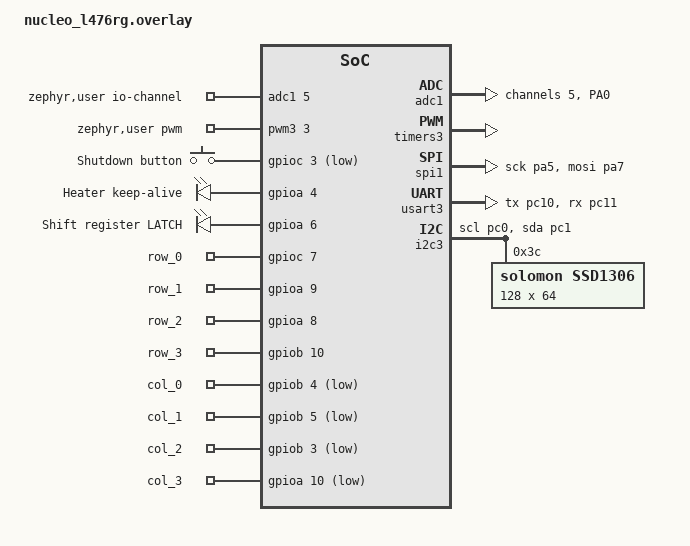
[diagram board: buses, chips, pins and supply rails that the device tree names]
/*
 * nucleo_l476rg.overlay — Mapa de pines del hardware y configuración de periféricos.
 *
 * ÚLTIMA REVISIÓN: reasignación completa de pines (ver docs/04-design-decisions.md,
 * mapa consolidado en checkpoint.md Sección 1.2 si aún no está formalizado).
 *
 * Resumen del mapa actual:
 *   - ADC (NTC):              PA0, ANALOG
 *   - PWM ventilador:         PB0, AF2 (TIM3_CH3)
 *   - Registro de desplazamiento (SN74HC595N): PA5 (SCK), PA6 (LATCH), PA7 (MOSI), AF5 — SPI1
 *   - OLED (SSD1306):         PC0 (SCL), PC1 (SDA), AF4 — I2C3
 *   - ESP32 (UART):           PC10 (TX), PC11 (RX), AF7 — USART3
 *   - Teclado filas:          PC7 (R0), PA9 (R1), PA8 (R2), PB10 (R3)
 *   - Teclado columnas:       PB4 (C0), PB5 (C1), PB3 (C2), PA10 (C3)
 *   - Botón de apagado:       PC3 (EXTI, debounce por software en el driver)
 *   - Keep-alive calentador:  PA4
 *
 * Pines evitados a propósito (no los uses aunque parezcan libres):
 *   - PA13 / PA14: son SWDIO/SWCLK — reconfigurarlos como GPIO/SPI puede dejar
 *     la placa sin poder reprogramarse por USB.
 *   - PC13: es el mismo pin del botón de usuario (B1) de la Nucleo. Se usa
 *     internamente en el alias "sw0" que consume power_status_manager.c — abajo
 *     se repuntó ese alias hacia el nuevo botón de PC3 para no tocar ese .c.
 *
 * === CÓMO INTERCAMBIAR FILAS POR COLUMNAS DEL TECLADO ===
 * El driver (matrix_keypad.c) lee los pines por NOMBRE de nodo DeviceTree
 * (row_0..row_3, col_0..col_3), nunca por puerto/pin fijo. Para intercambiar
 * qué grupo físico de 4 pines actúa como filas y cuál como columnas, edita
 * ÚNICAMENTE los bloques "keypad_rows" y "keypad_cols" de abajo — no se toca
 * ningún archivo .c.
 *
 * === CÓMO CAMBIAR PULL-UP POR PULL-DOWN EN LAS COLUMNAS ===
 * Cada columna tiene hoy la bandera GPIO_PULL_UP combinada con GPIO_ACTIVE_LOW
 * (reposo en HIGH, presionado se lee en LOW). Para usar pull-down en su lugar,
 * cambia esas dos banderas por GPIO_PULL_DOWN y GPIO_ACTIVE_HIGH en cada
 * col_N de abajo (reposo en LOW, presionado se lee en HIGH) — y ajusta el
 * cableado físico para que las filas exciten hacia 3.3V en vez de hacia GND.
 * El driver no necesita cambios: gpio_pin_get_dt() ya respeta la polaridad
 * declarada aquí.
 */

#include <zephyr/dt-bindings/adc/adc.h>
#include <zephyr/dt-bindings/pinctrl/stm32-pinctrl.h>
#include <zephyr/dt-bindings/pwm/pwm.h>
#include <zephyr/dt-bindings/gpio/gpio.h>

/ {
	zephyr,user {
		io-channels = <&adc1 5>;
		pwms        = <&pwm3 3 PWM_KHZ(25) PWM_POLARITY_NORMAL>;
	};

	/* Botón de apagado dedicado, PC3. Se expone también como alias "sw0" para
	 * que power_status_manager.c (que usa DT_ALIAS(sw0)) siga funcionando sin
	 * que se le toque una sola línea de código. */
	aliases {
		sw0 = &shutdown_button;
	};

	shutdown_btn {
		compatible = "gpio-keys";
		shutdown_button: shutdown_0 {
			gpios = <&gpioc 3 (GPIO_ACTIVE_LOW | GPIO_PULL_UP)>;
			label = "Shutdown button";
		};
	};

	/* GPIO de keep-alive hacia la planta térmica externa simulada. Ya no tiene
	 * ningún LED "espejo" asociado (se eliminó del esquema de LEDs); esta es la
	 * única señal real de autorización. */
	heater_ctrl {
		compatible = "gpio-leds";
		heater_pin: heater_0 { gpios = <&gpioa 4 GPIO_ACTIVE_HIGH>; label = "Heater keep-alive"; };
	};

	/* LATCH del registro de desplazamiento. No es parte del protocolo SPI en
	 * sí — es un GPIO simple que shift_register.c pulsa manualmente (flanco
	 * de subida) después de sacar los 8 bits por MOSI, tal como indica el
	 * datasheet del SN74HC595N para el pin RCLK. Por eso se expone como
	 * gpio-leds normal, igual que heater_pin, y NO como cs-gpios de &spi1. */
	shiftreg_ctrl {
		compatible = "gpio-leds";
		shiftreg_latch: shiftreg_latch_0 { gpios = <&gpioa 6 GPIO_ACTIVE_HIGH>; label = "Shift register LATCH"; };
	};

	/* Filas y columnas del teclado matricial 4x4. Ver notas de cabecera sobre
	 * cómo intercambiar filas/columnas y pull-up/pull-down. */
	keypad_rows {
		compatible = "gpio-keys";
		row_0: row_0 { gpios = <&gpioc 7  GPIO_ACTIVE_HIGH>; };
		row_1: row_1 { gpios = <&gpioa 9  GPIO_ACTIVE_HIGH>; };
		row_2: row_2 { gpios = <&gpioa 8  GPIO_ACTIVE_HIGH>; };
		row_3: row_3 { gpios = <&gpiob 10 GPIO_ACTIVE_HIGH>; };
	};

	keypad_cols {
		compatible = "gpio-keys";
		col_0: col_0 { gpios = <&gpiob 4  (GPIO_ACTIVE_LOW | GPIO_PULL_UP)>; };
		col_1: col_1 { gpios = <&gpiob 5  (GPIO_ACTIVE_LOW | GPIO_PULL_UP)>; };
		col_2: col_2 { gpios = <&gpiob 3  (GPIO_ACTIVE_LOW | GPIO_PULL_UP)>; };
		col_3: col_3 { gpios = <&gpioa 10 (GPIO_ACTIVE_LOW | GPIO_PULL_UP)>; };
	};
};

/* ── SECCIÓN PINCTRL ────────────────────────────────────────────────────── */
&pinctrl {
	ntc_adc_pins: ntc_adc_pins {
		pinmux = <STM32_PINMUX('A', 0, ANALOG)>;
	};

	fan_pwm_pins: fan_pwm_pins {
		pinmux = <STM32_PINMUX('B', 0, AF2)>;
	};

	/* ¡NUEVO FORMATO!
	Cada pin de SPI es su propio nodo independiente */
	spi1_sck_pa5: spi1_sck_pa5 {
		pinmux = <STM32_PINMUX('A', 5, AF5)>;
	};

	spi1_mosi_pa7: spi1_mosi_pa7 {
		pinmux = <STM32_PINMUX('A', 7, AF5)>;
	};

	/* El LATCH (PA6) no es parte del protocolo SPI en sí — es un GPIO simple
	 * que el driver del registro pulsa manualmente después de cada trama de
	 * 8 bits, por eso NO lleva pinmux de periférico aquí; se configura como
	 * GPIO normal directamente en el driver (drivers/shift_register.c). */


	/* ¡NUEVO FORMATO!
	Cada pin de I2C es su propio nodo independiente */
	i2c3_scl_pc0: i2c3_scl_pc0 {
		pinmux = <STM32_PINMUX('C', 0, AF4)>;
		bias-pull-up;
		drive-open-drain;
	};

	i2c3_sda_pc1: i2c3_sda_pc1 {
		pinmux = <STM32_PINMUX('C', 1, AF4)>;
		bias-pull-up;
		drive-open-drain;
	};


	/* ¡NUEVO FORMATO!
	Cada pin de USART es su propio nodo independiente */
	usart3_tx_pc10: usart3_tx_pc10 {
		pinmux = <STM32_PINMUX('C', 10, AF7)>;
	};

	usart3_rx_pc11: usart3_rx_pc11 {
		pinmux = <STM32_PINMUX('C', 11, AF7)>;
	};
};

/* ── PERIFÉRICOS ────────────────────────────────────────────────────────── */

&adc1 {
	pinctrl-0 = <&ntc_adc_pins>;
	#address-cells = <1>;
	#size-cells = <0>;

	channel@5 {
		reg = <5>;
		zephyr,gain             = "ADC_GAIN_1";
		zephyr,reference        = "ADC_REF_INTERNAL";
		zephyr,acquisition-time = <ADC_ACQ_TIME_DEFAULT>;
		zephyr,resolution       = <12>;
	};
};

&timers3 {
	status = "okay";
	st,prescaler = <0>;
	pwm3: pwm {
		status = "okay";
		pinctrl-0     = <&fan_pwm_pins>;
		pinctrl-names = "default";
	};
};

/* Registro de desplazamiento — SPI1 físico (ver aviso de nombre en cabecera).
 * MOSI únicamente, sin MISO (el 74HC595 no envía nada de vuelta) ni NSS por
 * hardware (el LATCH se maneja manualmente como GPIO, no como NSS de SPI). */
/* Registro de desplazamiento — SPI1 físico */

&spi1 {
	/* CORRECCIÓN: Apuntamos a los dos nodos independientes que creaste */
	pinctrl-0 = <&spi1_sck_pa5 &spi1_mosi_pa7>;
	pinctrl-names = "default";
	status = "okay";
	/* Sin cs-gpios: el LATCH se maneja a mano desde shift_register.c */
};

&spi2 {
	status = "disabled";
};

&usart1 {
	status = "disabled"; /* Liberado — PA9/PA10 ahora son filas/columnas del teclado */
};

&usart3 {
	pinctrl-0 = <&usart3_tx_pc10 &usart3_rx_pc11>;
	pinctrl-names = "default";
	status = "okay";
};

&i2c1 {
	status = "disabled"; /* Liberado — el bus real ahora es I2C3 (PC0/PC1) */
};

&i2c3 {
	pinctrl-0 = <&i2c3_scl_pc0 &i2c3_sda_pc1>;
	pinctrl-names = "default";
	status = "okay";

	ssd1306: ssd1306@3c {
		compatible        = "solomon,ssd1306";
		reg               = <0x3c>;
		width             = <128>;
		height            = <64>;
		segment-offset    = <0>;
		page-offset       = <0>;
		display-offset    = <0>;
		multiplex-ratio   = <63>;
		segment-remap;
		com-invdir;
		prechargep        = <0x22>;
		status            = "okay";
	};
};
